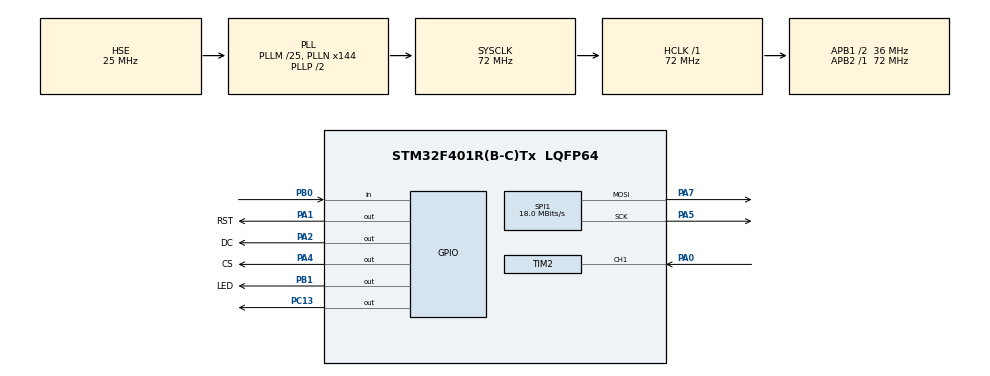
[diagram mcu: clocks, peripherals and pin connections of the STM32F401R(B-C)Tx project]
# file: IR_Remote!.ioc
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Mcu.Family=STM32F4
Mcu.Name=STM32F401R(B-C)Tx
Mcu.Package=LQFP64
NVIC.PriorityGroup=NVIC_PRIORITYGROUP_4
NVIC.TIM2_IRQn=true\:0\:0\:false\:false\:true\:true\:true\:true
PA0-WKUP.GPIO_PuPd=GPIO_PULLUP
PA0-WKUP.Signal=S_TIM2_CH1_ETR
PA1.GPIO_Label=RST
PA1.PinState=GPIO_PIN_SET
PA1.Signal=GPIO_Output
PA13.Mode=Serial_Wire
PA13.Signal=SYS_JTMS-SWDIO
PA14.Mode=Serial_Wire
PA14.Signal=SYS_JTCK-SWCLK
PA2.GPIO_Label=DC
PA2.PinState=GPIO_PIN_SET
PA2.Signal=GPIO_Output
PA4.GPIO_Label=CS
PA4.PinState=GPIO_PIN_SET
PA4.Signal=GPIO_Output
PA5.Mode=TX_Only_Simplex_Unidirect_Master
PA5.Signal=SPI1_SCK
PA7.Mode=TX_Only_Simplex_Unidirect_Master
PA7.Signal=SPI1_MOSI
PB0.GPIO_PuPd=GPIO_PULLUP
PB0.Signal=GPIO_Input
PB1.GPIO_Label=LED
PB1.PinState=GPIO_PIN_SET
PB1.Signal=GPIO_Output
PC13-ANTI_TAMP.PinState=GPIO_PIN_SET
PC13-ANTI_TAMP.Signal=GPIO_Output
PH0\ -\ OSC_IN.Mode=HSE-External-Oscillator
PH0\ -\ OSC_IN.Signal=RCC_OSC_IN
PH1\ -\ OSC_OUT.Mode=HSE-External-Oscillator
PH1\ -\ OSC_OUT.Signal=RCC_OSC_OUT
ProjectManager.HeapSize=0x200
ProjectManager.StackSize=0x400
ProjectManager.TargetToolchain=STM32CubeIDE
RCC.48MHZClocksFreq_Value=36000000
RCC.AHBFreq_Value=72000000
RCC.APB1CLKDivider=RCC_HCLK_DIV2
RCC.APB1Freq_Value=36000000
RCC.APB1TimFreq_Value=72000000
RCC.APB2Freq_Value=72000000
RCC.APB2TimFreq_Value=72000000
RCC.CortexFreq_Value=72000000
RCC.EnbaleCSS=true
RCC.HCLKFreq_Value=72000000
RCC.HSE_VALUE=25000000
RCC.HSI_VALUE=16000000
RCC.LSE_VALUE=32768
RCC.PLLM=25
RCC.PLLN=144
RCC.PLLSourceVirtual=RCC_PLLSOURCE_HSE
RCC.SYSCLKFreq_VALUE=72000000
RCC.SYSCLKSource=RCC_SYSCLKSOURCE_PLLCLK
RCC.VCOOutputFreq_Value=144000000
SH.S_TIM2_CH1_ETR.0=TIM2_CH1,Input_Capture1_from_TI1
SPI1.BaudRatePrescaler=SPI_BAUDRATEPRESCALER_4
SPI1.CalculateBaudRate=18.0 MBits/s
SPI1.Direction=SPI_DIRECTION_2LINES
SPI1.Mode=SPI_MODE_MASTER
SPI1.VirtualType=VM_MASTER
TIM2.AutoReloadPreload=TIM_AUTORELOAD_PRELOAD_ENABLE
TIM2.Channel-Input_Capture1_from_TI1=TIM_CHANNEL_1
TIM2.Period=0xFFFF
TIM2.Prescaler=71
VP_TIM2_VS_ClockSourceINT.Mode=Internal
board=custom

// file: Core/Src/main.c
/* USER CODE BEGIN Header */
/*
 IK_MODULE - Project
*/
/* USER CODE END Header */
#include "main.h"
#include "spi.h"
#include "tim.h"
#include "gpio.h"

/* USER CODE BEGIN Includes */
#include "IK.h"
#include "st7735.h"
#include "fonts.h"
#include <string.h>
/* USER CODE END Includes */

void SystemClock_Config(void);

int main(void)
{

  /* MCU Configuration--------------------------------------------------------*/

  /* Reset of all peripherals, Initializes the Flash interface and the Systick. */
  HAL_Init();

  /* Configure the system clock */
  SystemClock_Config();

  /* Initialize all configured peripherals */
  MX_GPIO_Init();
  MX_SPI1_Init();
  MX_TIM2_Init();
  /* USER CODE BEGIN 2 */
  HAL_GPIO_WritePin(GPIOB, GPIO_PIN_1, GPIO_PIN_SET);

  ST7735_Init();
  ST7735_FillScreen(ST7735_BLACK);
  ST7735_FillRectangle(0, 0, ST7735_WIDTH, ST7735_HEIGHT, ST7735_BLACK);
  ST7735_FillRectangle(2, 2, ST7735_WIDTH-4, ST7735_HEIGHT-4, ST7735_BLACK);
  ST7735_FillRectangle(0, 0, ST7735_WIDTH, 25, ST7735_BLUE);
  ST7735_WriteString(5, 5, "IR_Remote!", Font_11x18, ST7735_GREEN, ST7735_BLACK);
  ST7735_FillRectangle(0, 28, ST7735_WIDTH, 2, ST7735_WHITE);
  ST7735_FillRectangle(10, 40, ST7735_WIDTH-20, 50, ST7735_BLACK);
  ST7735_FillRectangle(8, 38, ST7735_WIDTH-16, 54, ST7735_WHITE);
  ST7735_WriteString(5, ST7735_HEIGHT-20, "PRESS ANY KEY: ", Font_7x10, ST7735_GREEN, ST7735_BLACK);

  HAL_TIM_IC_Start_IT(&htim2, TIM_CHANNEL_1);
  /* USER CODE END 2 */

  /* Infinite loop */
  while (1)
  {

    /* USER CODE BEGIN 3 */
	if (ir_recv_state & (1 << 6))
	{
		ir_recv_state &= ~(1 << 6);

	    uint32_t cmd = ir_code;

	    DisplayButton(cmd);

        HAL_GPIO_WritePin(GPIOC, GPIO_PIN_13, GPIO_PIN_RESET);
        HAL_Delay(100);
        HAL_GPIO_WritePin(GPIOC, GPIO_PIN_13, GPIO_PIN_SET);
        HAL_Delay(500);
	 }
	    HAL_Delay(10);
	  }
  /* USER CODE END 3 */
}

void SystemClock_Config(void)
{
  RCC_OscInitTypeDef RCC_OscInitStruct = {0};
  RCC_ClkInitTypeDef RCC_ClkInitStruct = {0};

  /** Configure the main internal regulator output voltage
  */
  __HAL_RCC_PWR_CLK_ENABLE();
  __HAL_PWR_VOLTAGESCALING_CONFIG(PWR_REGULATOR_VOLTAGE_SCALE2);

  /** Initializes the RCC Oscillators according to the specified parameters
  * in the RCC_OscInitTypeDef structure.
  */
  RCC_OscInitStruct.OscillatorType = RCC_OSCILLATORTYPE_HSE;
  RCC_OscInitStruct.HSEState = RCC_HSE_ON;
  RCC_OscInitStruct.PLL.PLLState = RCC_PLL_ON;
  RCC_OscInitStruct.PLL.PLLSource = RCC_PLLSOURCE_HSE;
  RCC_OscInitStruct.PLL.PLLM = 25;
  RCC_OscInitStruct.PLL.PLLN = 144;
  RCC_OscInitStruct.PLL.PLLP = RCC_PLLP_DIV2;
  RCC_OscInitStruct.PLL.PLLQ = 4;
  if (HAL_RCC_OscConfig(&RCC_OscInitStruct) != HAL_OK)
  {
    Error_Handler();
  }

  /** Initializes the CPU, AHB and APB buses clocks
  */
  RCC_ClkInitStruct.ClockType = RCC_CLOCKTYPE_HCLK|RCC_CLOCKTYPE_SYSCLK
                              |RCC_CLOCKTYPE_PCLK1|RCC_CLOCKTYPE_PCLK2;
  RCC_ClkInitStruct.SYSCLKSource = RCC_SYSCLKSOURCE_PLLCLK;
  RCC_ClkInitStruct.AHBCLKDivider = RCC_SYSCLK_DIV1;
  RCC_ClkInitStruct.APB1CLKDivider = RCC_HCLK_DIV2;
  RCC_ClkInitStruct.APB2CLKDivider = RCC_HCLK_DIV1;

  if (HAL_RCC_ClockConfig(&RCC_ClkInitStruct, FLASH_LATENCY_2) != HAL_OK)
  {
    Error_Handler();
  }

  /** Enables the Clock Security System
  */
  HAL_RCC_EnableCSS();
}

void Error_Handler(void)
{
  __disable_irq();
  while (1)
  {
  }
}
